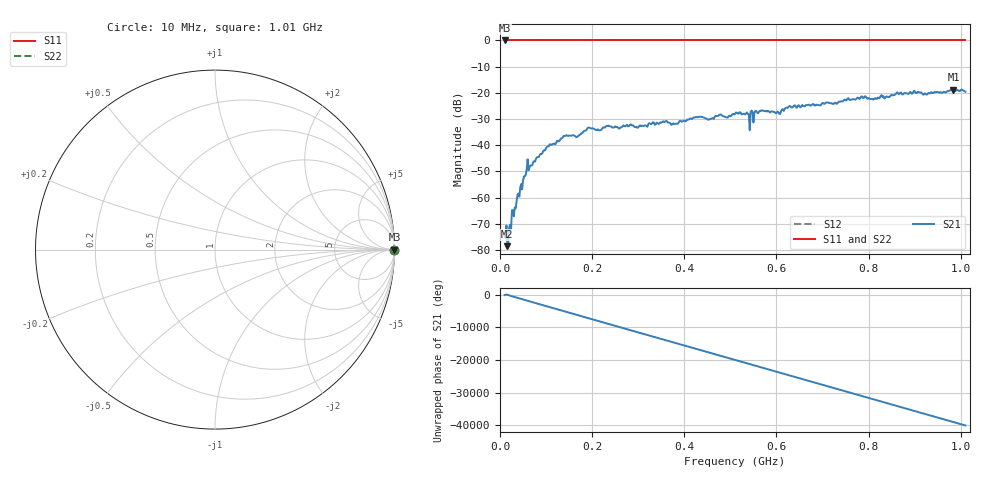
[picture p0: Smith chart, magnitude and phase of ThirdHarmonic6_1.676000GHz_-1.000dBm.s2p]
! 8/16/2025 8:06:34 PM
! C:\ANRITSUVNA\TEMP\TEMP.S2P
! CHANNEL.1
! TR.MEASUREMENT
! RAW.DATA
! RF.CORRECTION.OFF
! AVERAGING.OFF
! IF.BANDWIDTH: 5KHZ
! SWEEPTYPE:  FREQ.SWEEP(Linear)
! Reference Plane Port Info
! PORT:  PORT1  PORT2
! DISTANCE:  0  m  0  m
! TIME:  0  s  0  s
! PHASE.OFFSET:  0  deg.  0  deg.
! LOSS:  0  dB  0  dB
! REF.LOSS:  0  dB  0  dB
! REF.FREQ:  0  Hz  0  Hz
! Power Info
! POWER:  -20  dBm  -20  dBm
! EFF.POWER:  -20  dBm  -20  dBm
! SOURCE.ATTEN:  0  dB  0  dB
! TEST.ATTEN:  0  dB  0  dB
# GHZ S RI R 50.0
! FREQ.GHZ  S11RE  S11IM  S21RE  S21IM  S12RE  S12IM  S22RE  S22IM
!; PortSelection: Port_12
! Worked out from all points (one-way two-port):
!   501 points, 10 MHz to 1.01 GHz, reference 50 ohm
!   highest |S21| = -18.73 dB at 984 MHz (marker M1); lowest = -78.5 dB at 16 MHz (marker M2)
!   lowest |S11| = 0.0 dB at 10 MHz (marker M3)
!   |S11| at or under -10 dB: nowhere
!   |S22| runs from 0.0 to 0.0 dB; largest |S21 - S12| = 1.1
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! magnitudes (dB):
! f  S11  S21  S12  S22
! 10 MHz  0.0  -74.3  0.0  0.0
! 16 MHz  0.0  -78.5  0.0  0.0
! 20 MHz  0.0  -71.3  0.0  0.0
! 24 MHz  0.0  -72.1  0.0  0.0
! 42 MHz  0.0  -59.6  0.0  0.0
! 62 MHz  0.0  -49.6  0.0  0.0
! 106 MHz  0.0  -40.4  0.0  0.0
! 142 MHz  0.0  -36.4  0.0  0.0
! 178 MHz  0.0  -35.4  0.0  0.0
! 194 MHz  0.0  -33.3  0.0  0.0
! 344 MHz  0.0  -31.9  0.0  0.0
! 382 MHz  0.0  -31.8  0.0  0.0
! 424 MHz  0.0  -29.3  0.0  0.0
! 510 MHz  0.0  -28.1  0.0  0.0
! 546 MHz  0.0  -26.7  0.0  0.0
! 568 MHz  0.0  -26.7  0.0  0.0
! 604 MHz  0.0  -27.3  0.0  0.0
! 626 MHz  0.0  -25.4  0.0  0.0
! 678 MHz  0.0  -24.4  0.0  0.0
! 844 MHz  0.0  -21.6  0.0  0.0
! 984 MHz  0.0  -18.7  0.0  0.0
! 1.01 GHz  0.0  -19.6  0.0  0.0
